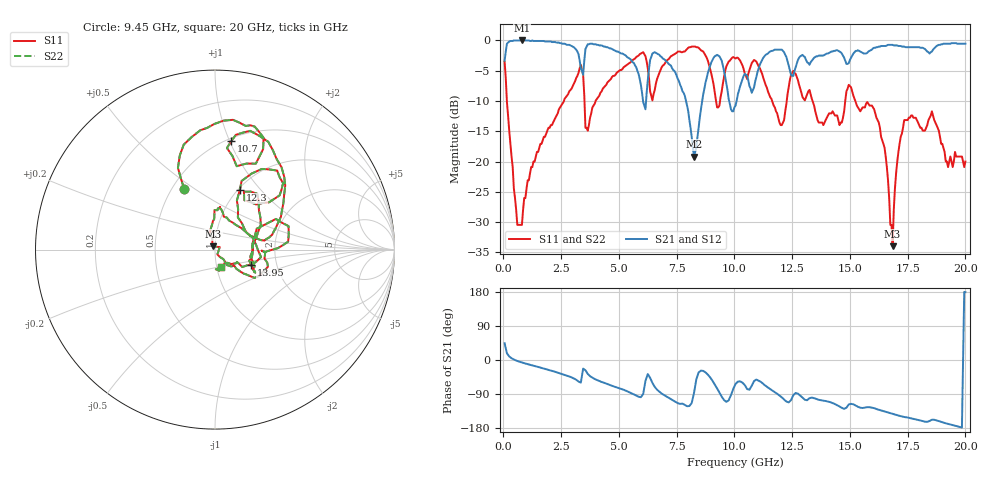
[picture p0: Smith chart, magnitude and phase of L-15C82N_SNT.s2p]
# MHZ S MA R 50
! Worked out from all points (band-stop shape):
!   400 points, 50 MHz to 20 GHz, reference 50 ohm
!   highest |S21| = 0.00 dB at 800 MHz (marker M1); lowest = -19.2 dB at 8.25 GHz (marker M2)
!   |S21| within 3 dB of the highest: 61.51 MHz to 3.284 GHz (3.222 GHz wide, 193 % of centre); 15.03 GHz to end of sweep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
!   lowest |S11| = -34.0 dB at 16.85 GHz (marker M3), VSWR 1.04, Z = 49 + j1.71 ohm
!   |S11| at or under -10 dB: 147.8 MHz to 2.616 GHz (2.468 GHz wide, 179 % of centre); 13.38 GHz to 14.8 GHz (1.413 GHz wide, 10 % of centre); 15.23 GHz to end of sweep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
!   |S22| runs from -34.0 to -1.0 dB; largest |S21 - S12| = 0
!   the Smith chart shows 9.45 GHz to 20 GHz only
!   S11 on the Smith chart (normalised r, x): 9.45 GHz: 0.57, +0.46; 10.7 GHz: 0.53, +1.01; 12.3 GHz: 1.02, +0.78; 13.95 GHz: 1.48, -0.27; 20 GHz: 1.05, -0.20
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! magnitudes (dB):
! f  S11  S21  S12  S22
! 50 MHz  -3.5  -3.3  -3.3  -3.5
! 600 MHz  -30.5  0.0  0.0  -30.5
! 800 MHz  -30.5  0.0  0.0  -30.5
! 3.4 GHz  -4.9  -5.0  -5.0  -4.9
! 3.65 GHz  -14.9  -0.6  -0.6  -14.9
! 6.15 GHz  -2.6  -11.4  -11.4  -2.6
! 6.7 GHz  -5.8  -2.3  -2.3  -5.8
! 8.25 GHz  -1.0  -19.2  -19.2  -1.0
! 8.85 GHz  -3.3  -5.4  -5.4  -3.3
! 9.45 GHz  -8.4  -3.3  -3.3  -8.4
! 10.05 GHz  -3.0  -10.8  -10.8  -3.0
! 10.7 GHz  -4.3  -8.0  -8.0  -4.3
! 12 GHz  -14.0  -1.5  -1.5  -14.0
! 12.3 GHz  -8.9  -3.5  -3.5  -8.9
! 13.35 GHz  -9.6  -3.3  -3.3  -9.6
! 13.95 GHz  -13.2  -2.3  -2.3  -13.2
! 15.95 GHz  -10.8  -1.5  -1.5  -10.8
! 16.7 GHz  -26.0  -0.7  -0.7  -26.0
! 16.85 GHz  -34.0  -0.7  -0.7  -34.0
! 17 GHz  -21.9  -0.8  -0.8  -21.9
! 17.35 GHz  -13.2  -1.0  -1.0  -13.2
! 20 GHz  -20.0  -0.5  -0.5  -20.0
